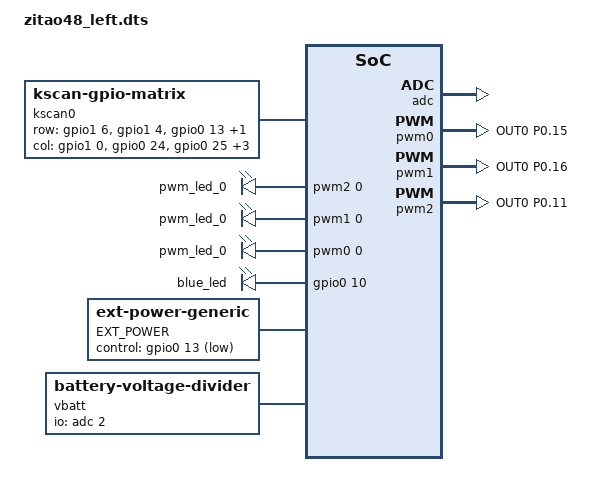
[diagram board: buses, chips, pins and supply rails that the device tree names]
/*
*
* Copyright (c) 2025 ZitaoTech
* SPDX-License-Identifier: MIT
*
*/

#include "zitao48.dtsi"
//#include "zitao48_left-pinctrl.dtsi"
/* {
    glidepoint_listener: glidepoint_listener {
        compatible = "zmk,input-listener";
        status = "disabled";
    };
};*/



/ {
    chosen {
        zmk,custom_led = &custom_led;
        zmk,trackball_led = &trackball_led;
        zmk,backlight = &backlight;
    };
    kscan0: kscan {
        compatible = "zmk,kscan-gpio-matrix";
        diode-direction = "col2row";
        row-gpios
            = <&gpio1 6 (GPIO_ACTIVE_HIGH | GPIO_PULL_DOWN)>
            , <&gpio1 4  (GPIO_ACTIVE_HIGH | GPIO_PULL_DOWN)>
            , <&gpio0 13 (GPIO_ACTIVE_HIGH | GPIO_PULL_DOWN)>
            , <&gpio0 21  (GPIO_ACTIVE_HIGH | GPIO_PULL_DOWN)>
            ;
        col-gpios
            = <&gpio1 0  GPIO_ACTIVE_HIGH>
            , <&gpio0 24  GPIO_ACTIVE_HIGH>
            , <&gpio0 25  GPIO_ACTIVE_HIGH>
            , <&gpio1 3 GPIO_ACTIVE_HIGH>
            , <&gpio1 5 GPIO_ACTIVE_HIGH>
            , <&gpio1 7 GPIO_ACTIVE_HIGH>
            ;
    };

    custom_led: pwmledfo{
        compatible = "pwm-leds";
        pwm_led_0 {
            pwms = <&pwm2 0 PWM_USEC(20) PWM_POLARITY_NORMAL>;
        };
    };

    trackball_led: pwmledo{
        compatible = "pwm-leds";
        pwm_led_0 {
            pwms = <&pwm1 0 PWM_USEC(20) PWM_POLARITY_NORMAL>;
        };
    };

    backlight: pwmleds {
        compatible = "pwm-leds";
        pwm_led_0 {
            pwms = <&pwm0 0 PWM_MSEC(10) PWM_POLARITY_NORMAL>;
        };
    };
    

    leds {
        compatible = "gpio-leds";
        blue_led: led_0 {
            gpios = <&gpio0 10 GPIO_ACTIVE_HIGH>;
        };
    };
        EXT_POWER {
        compatible = "zmk,ext-power-generic";
        control-gpios = <&gpio0 13 GPIO_ACTIVE_LOW>;
    };

    vbatt: vbatt {
        compatible = "zmk,battery-voltage-divider";
        io-channels = <&adc 2>;
        output-ohms = <2000000>;
        full-ohms = <2820000>;  // 2000000 + 820000
    };
};


&adc {
    status = "okay";
};

&gpiote {
    status = "okay";
};

&gpio0 {
    status = "okay";
};

&gpio1 {
    status = "okay";
};

&pwm0 {
    status = "okay";
    pinctrl-0 = <&pwm0_default>;
    pinctrl-1 = <&pwm0_sleep>;
    pinctrl-names = "default", "sleep";
};

&pwm1 {
    status = "okay";
    pinctrl-0 = <&pwm1_default>;
    pinctrl-1 = <&pwm1_sleep>;
    pinctrl-names = "default", "sleep";
};

&pwm2 {
    status = "okay";
    pinctrl-0 = <&pwm2_default>;
    pinctrl-1 = <&pwm2_sleep>;
    pinctrl-names = "default", "sleep";
};






/*
 * Copyright (c) 2025 ZitaoTech
 * SPDX-License-Identifier: MIT
 */

&pinctrl {
    pwm0_default:pwm0_default{
        group1{
            psels = <NRF_PSEL(PWM_OUT0, 0, 15)>; // Backlight for backlight.c unreal
        };
    };

    pwm0_sleep: pwm0_sleep {
        group1 {
            psels = <NRF_PSEL(PWM_OUT0, 0, 15)>;
            bias-pull-down;
        };
    };

    pwm1_default:pwm1_default{
        group1{
            psels = <NRF_PSEL(PWM_OUT0, 0, 16)>; // Backlight for Trackball
        };
    };

    pwm1_sleep: pwm1_sleep {
        group1 {
            psels = <NRF_PSEL(PWM_OUT0, 0, 16)>;
            bias-pull-down;
        };
    };

    pwm2_default: pwm2_default {
        group1 {
            psels = <NRF_PSEL(PWM_OUT0, 0, 11)>; // Backlight for custom LED
        };
    };

    pwm2_sleep: pwm2_sleep {
        group1 {
            psels = <NRF_PSEL(PWM_OUT0, 0, 11)>;
            bias-pull-down;
        };
    };

    
};


